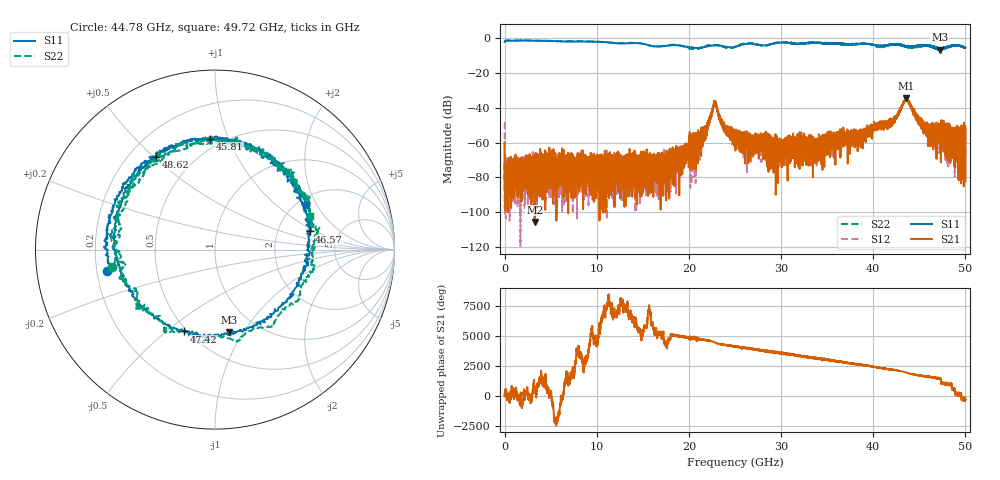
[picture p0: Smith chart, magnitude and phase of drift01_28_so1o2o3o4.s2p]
!Created with skrf (http://scikit-rf.org).
# Hz S RI R 50.0
!freq ReS11 ImS11 ReS21 ImS21 ReS12 ImS12 ReS22 ImS22
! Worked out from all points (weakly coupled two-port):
!   10001 points, 300 kHz to 50 GHz, reference 50 ohm
!   highest |S21| = -34.59 dB at 43.61 GHz (marker M1); lowest = -105.5 dB at 3.26 GHz (marker M2)
!   lowest |S11| = -6.6 dB at 47.21 GHz (marker M3), VSWR 2.74, Z = 37 - j43.4 ohm
!   |S11| at or under -10 dB: nowhere
!   |S22| runs from -6.4 to -1.4 dB; largest |S21 - S12| = 0.004
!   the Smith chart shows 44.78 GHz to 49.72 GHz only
!   S11 on the Smith chart (normalised r, x): 44.78 GHz: 0.24, -0.09; 45.81 GHz: 0.43, +0.86; 46.57 GHz: 3.05, +0.87; 47.42 GHz: 0.48, -0.58; 48.62 GHz: 0.31, +0.51; 49.72 GHz: 2.26, +1.63
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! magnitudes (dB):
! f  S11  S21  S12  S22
! 300 kHz  -2.2  -59.8  -48.2  -2.1
! 255.3 MHz  -1.4  -75.1  -74.5  -1.4
! 3.26 GHz  -1.5  -105.5  -74.9  -1.5
! 8.335 GHz  -1.9  -73.1  -76.4  -1.8
! 16.67 GHz  -4.8  -72.8  -73.7  -4.8
! 20.82 GHz  -5.7  -62.7  -56.9  -6.3
! 21.96 GHz  -4.8  -49.9  -52.2  -4.4
! 22.79 GHz  -4.3  -36.3  -36.3  -4.0
! 23.83 GHz  -4.7  -49.6  -51.0  -5.1
! 25 GHz  -5.0  -60.3  -59.0  -5.1
! 29.81 GHz  -2.7  -65.8  -62.6  -2.4
! 33.34 GHz  -2.6  -61.3  -65.5  -2.7
! 41.67 GHz  -3.9  -48.9  -48.7  -4.4
! 43.61 GHz  -4.5  -34.6  -35.1  -4.7
! 44.78 GHz  -4.2  -45.8  -45.7  -4.7
! 45.81 GHz  -4.2  -48.2  -53.1  -4.4
! 46.57 GHz  -5.4  -52.8  -52.7  -4.7
! 47.21 GHz  -6.6  -53.9  -57.5  -5.9
! 47.42 GHz  -6.2  -62.7  -51.1  -5.7
! 48.62 GHz  -4.3  -52.2  -63.3  -4.8
! 49.72 GHz  -5.0  -50.9  -64.9  -5.0
! 50 GHz  -5.5  -51.5  -57.0  -5.4
